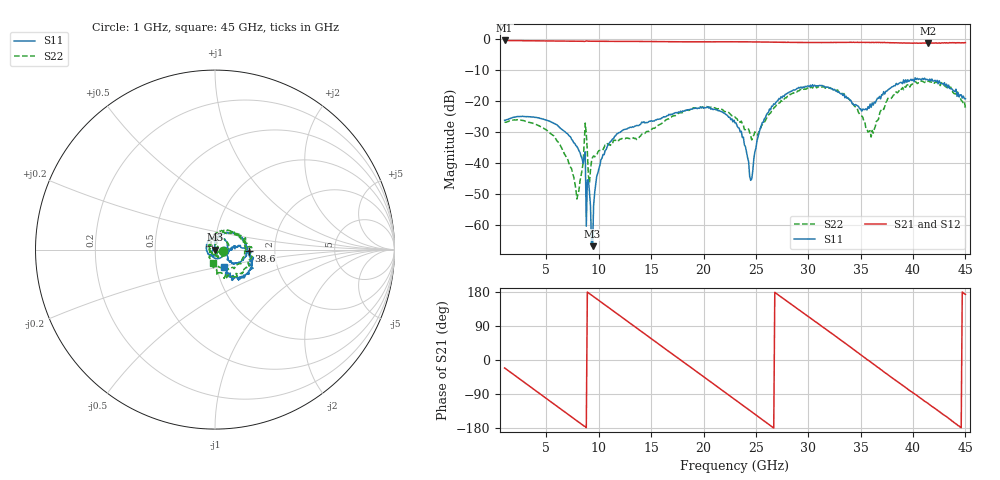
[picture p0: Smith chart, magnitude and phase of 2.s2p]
!Keysight Technologies,N5247B,MY61255062,A.19.80.06
!Date: Monday, May 18, 2026 12:00:06
!Correction: S11(Cdelta 2-Port  )
!S21(Cdelta 2-Port  )
!S12(Cdelta 2-Port  )
!S22(Cdelta 2-Port  )
!S2P File: Measurements: S11, S21, S12, S22:
# Hz S  dB  R 50
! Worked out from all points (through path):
!   441 points, 1 GHz to 45 GHz, reference 50 ohm
!   highest |S21| = -0.42 dB at 1 GHz (marker M1); lowest = -1.3 dB at 41.4 GHz (marker M2)
!   group delay of S21, straight-line fit = 55.9 ps
!   lowest |S11| = -67.0 dB at 9.4 GHz (marker M3), VSWR 1.00, Z = 50 - j0.0283 ohm
!   |S11| at or under -10 dB: start of sweep to end of sweep
!   |S22| runs from -51.7 to -13.4 dB; largest |S21 - S12| = 0.015
!   S11 on the Smith chart (normalised r, x): 1 GHz: 1.10, -0.01; 38.6 GHz: 1.46, -0.02; 45 GHz: 1.08, -0.21
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1e9  -26.28 -6.1  -0.42 -21.0  -0.42 -21.0  -26.83 -6.8
4.6e9  -25.80 -79.4  -0.56 -93.8  -0.57 -93.8  -28.64 -71.4
7.9e9  -34.73 -151.3  -0.64 -160.5  -0.64 -160.6  -51.73 -89.2
8.4e9  -38.78 -168.5  -0.67 -170.7  -0.67 -170.7  -42.33 8.5
8.7e9  -36.49 135.5  -0.68 -175.6  -0.68 -175.6  -27.19 77.2
9.1e9  -49.31 158.0  -0.67 175.2  -0.67 175.2  -46.53 -6.6
9.4e9  -67.00 -39.2  -0.68 169.2  -0.68 169.2  -38.26 -18.9
1e10  -41.91 -21.5  -0.69 157.1  -0.69 157.1  -36.07 -25.6
1.1e10  -33.63 -47.9  -0.72 137.0  -0.72 137.0  -34.14 -45.4
1.34e10  -28.24 -123.7  -0.73 88.7  -0.73 88.7  -32.17 -136.5
1.57e10  -25.95 163.8  -0.79 42.2  -0.79 42.2  -27.79 135.5
1.9e10  -22.48 65.6  -0.86 -23.9  -0.86 -23.9  -22.29 49.9
2.3e10  -27.12 -23.2  -0.85 -104.5  -0.86 -104.6  -25.15 -47.7
2.45e10  -45.69 9.5  -0.88 -134.9  -0.88 -135.0  -31.28 -119.9
2.65e10  -21.67 73.9  -0.94 -175.4  -0.95 -175.5  -23.16 107.7
3.04e10  -14.74 2.0  -1.11 106.7  -1.10 106.5  -15.84 11.1
3.29e10  -17.08 -31.5  -1.06 56.5  -1.05 56.7  -17.07 -44.7
3.6e10  -22.08 -1.6  -1.08 -6.4  -1.07 -6.6  -31.68 167.5
3.77e10  -16.20 3.0  -1.15 -40.9  -1.19 -41.0  -19.32 64.9
3.86e10  -14.50 -2.0  -1.20 -59.0  -1.20 -59.1  -17.00 35.0
4.14e10  -13.11 -40.5  -1.33 -113.8  -1.30 -114.4  -13.72 -24.5
4.5e10  -19.29 -62.7  -1.13 173.2  -1.21 173.3  -22.20 -96.3
